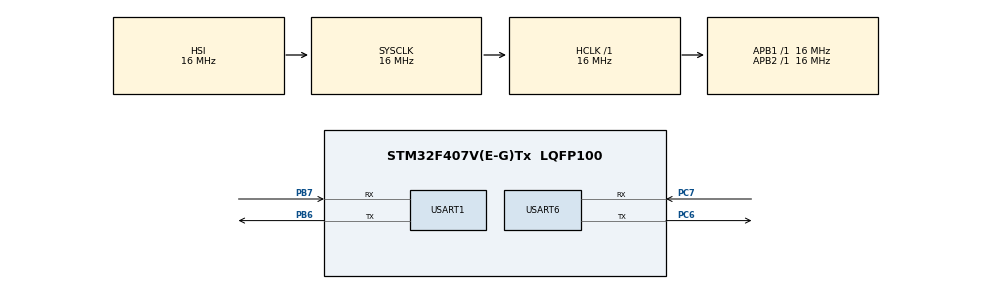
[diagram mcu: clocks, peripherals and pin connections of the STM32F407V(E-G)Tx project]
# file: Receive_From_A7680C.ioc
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FREERTOS.Mutexes01=myMutex01,Dynamic,NULL
FREERTOS.Tasks01=defaultTask,0,128,StartDefaultTask,Default,NULL,Dynamic,NULL,NULL;myTask02,-3,128,StartTask02,Default,NULL,Dynamic,NULL,NULL
Mcu.Family=STM32F4
Mcu.Name=STM32F407V(E-G)Tx
Mcu.Package=LQFP100
NVIC.PriorityGroup=NVIC_PRIORITYGROUP_4
NVIC.TIM2_IRQn=true\:5\:0\:false\:false\:true\:true\:true\:true\:true
NVIC.TIM4_IRQn=true\:15\:0\:false\:false\:true\:false\:false\:true\:true
NVIC.TimeBase=TIM4_IRQn
NVIC.TimeBaseIP=TIM4
NVIC.USART1_IRQn=true\:10\:0\:true\:false\:true\:true\:true\:true\:true
NVIC.USART6_IRQn=true\:5\:0\:false\:false\:true\:true\:true\:true\:true
PA13.Mode=Serial_Wire
PA13.Signal=SYS_JTMS-SWDIO
PA14.Mode=Serial_Wire
PA14.Signal=SYS_JTCK-SWCLK
PB6.Mode=Asynchronous
PB6.Signal=USART1_TX
PB7.Mode=Asynchronous
PB7.Signal=USART1_RX
PC6.Mode=Asynchronous
PC6.Signal=USART6_TX
PC7.Mode=Asynchronous
PC7.Signal=USART6_RX
PH0-OSC_IN.Mode=HSE-External-Oscillator
PH0-OSC_IN.Signal=RCC_OSC_IN
PH1-OSC_OUT.Mode=HSE-External-Oscillator
PH1-OSC_OUT.Signal=RCC_OSC_OUT
ProjectManager.HeapSize=0x200
ProjectManager.StackSize=0x400
ProjectManager.TargetToolchain=MDK-ARM V5.32
RCC.AHBFreq_Value=16000000
RCC.APB1Freq_Value=16000000
RCC.APB2Freq_Value=16000000
RCC.CortexFreq_Value=16000000
RCC.HSE_VALUE=25000000
RCC.HSI_VALUE=16000000
RCC.LSE_VALUE=32768
RCC.SYSCLKFreq_VALUE=16000000
RCC.VCOOutputFreq_Value=192000000
TIM2.Period=9999
TIM2.Prescaler=1599
USART1.VirtualMode=VM_ASYNC
USART6.VirtualMode=VM_ASYNC
VP_FREERTOS_VS_CMSIS_V1.Mode=CMSIS_V1
VP_SYS_VS_tim4.Mode=TIM4
VP_TIM2_VS_ClockSourceINT.Mode=Internal
board=custom

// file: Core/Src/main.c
/* USER CODE BEGIN Header */
/**
  ******************************************************************************
  * @file           : main.c
  * @brief          : Main program body
  ******************************************************************************
  * @attention
  *
  * Copyright (c) 2024 STMicroelectronics.
  * All rights reserved.
  *
  * This software is licensed under terms that can be found in the LICENSE file
  * in the root directory of this software component.
  * If no LICENSE file comes with this software, it is provided AS-IS.
  *
  ******************************************************************************
  */
/* USER CODE END Header */
#include "main.h"
#include "cmsis_os.h"

/* USER CODE BEGIN Includes */
#include "string.h"
#include "uart.h"
#include "task_LTE.h"
/* USER CODE END Includes */

/* USER CODE BEGIN PD */
#define MaxLengthReceiveUSART1 1024
#define LastFOTACommand 15
#define WaitingForRespondTimeout 10
/* USER CODE END PD */

TIM_HandleTypeDef htim2;

osThreadId defaultTaskHandle;
osThreadId myTask02Handle;
osMutexId myMutex01Handle;
/* USER CODE BEGIN PV */
/* Check command from sim variable */
osThreadId taskCheckSMSHandle;
/* RxData uart 1 buffer variables */
char RxDataUSART1[MaxLengthReceiveUSART1];
char RxDataChar[1];
volatile uint16_t RxDataIndex = 0;
/* RxData uart 6 buffer variables */
char RxDataUSART6[1024];
char RxDataCharSim[1];
volatile uint16_t RxDataIndexSim = 0;
/* Flag check if uart 6 received completed respond or not */
int isReceivedRespond = 0;
/* Flag check if in FOTA mode or not */
int FOTAFlag = 0;
/* Flag to make the received command from sim different from FOTA process */
int SMSCommandFlag = 1;
/* Flag check if command is sent to SIM or not */
volatile int sentToSimFlag = 0;
/* Command index */
volatile int FOTACommandIndex = 0;
/* Time out variable for FOTA */
volatile int SimRespondTimeout = 0;
/* Flag check if the Firmware is downloaded or not */
int writeToFlash = 0;
/* Start page of where to write firmware */
int beginLine = 0;

/* USER CODE END PV */

void SystemClock_Config(void);
static void MX_GPIO_Init(void);
static void MX_TIM2_Init(void);
void StartDefaultTask(void const * argument);
void StartTask02(void const * argument);

/* USER CODE BEGIN PFP */
void TaskCheckCommandFromUser(void const * argument);
void printDebug(char *debugText);
void erase_flash_sector(uint32_t sector_number);
void HAL_UART_TxCpltCallback(UART_HandleTypeDef *huart);
void changeSettingBeforeReset();
/* USER CODE END PFP */

int main(void)
{
  /* USER CODE BEGIN 1 */
  /* Change vector offset table to the start of the firmware */
  SCB->VTOR = (uint32_t)0x08060000;
	__enable_irq();
  /* USER CODE END 1 */

  /* MCU Configuration--------------------------------------------------------*/

  /* Reset of all peripherals, Initializes the Flash interface and the Systick. */
  HAL_Init();

  /* Configure the system clock */
  SystemClock_Config();

  /* Initialize all configured peripherals */
  MX_GPIO_Init();
  MX_TIM2_Init();
  MX_USART1_UART_Init();
  MX_USART6_UART_Init();
  /* USER CODE BEGIN 2 */
  printDebug("Firmware version 0.2.1\r\n");
  uint8_t tx_data_1[37]="Start receive and process firmware\r\n";
  HAL_UART_Transmit(&huart6,tx_data_1, sizeof(tx_data_1), 100);
  HAL_UART_Receive_IT(&huart6, (uint8_t*)RxDataChar, 1);
  HAL_UART_Receive_IT(&huart1, (uint8_t*)RxDataCharSim, 1);
  /* USER CODE END 2 */
  /* Create the mutex(es) */
  /* definition and creation of myMutex01 */
  osMutexDef(myMutex01);
  myMutex01Handle = osMutexCreate(osMutex(myMutex01));

  /* Create the thread(s) */
  /* definition and creation of defaultTask */
  osThreadDef(defaultTask, StartDefaultTask, osPriorityNormal, 0, 128);
  defaultTaskHandle = osThreadCreate(osThread(defaultTask), NULL);

  /* definition and creation of myTask02 */
  osThreadDef(myTask02, StartTask02, osPriorityIdle, 0, 128);
  myTask02Handle = osThreadCreate(osThread(myTask02), NULL);

  /* USER CODE BEGIN RTOS_THREADS */
  /* add threads, ... */

  osThreadDef(taskCheckSMS, TaskCheckCommandFromUser, osPriorityIdle, 0, 128);
  taskCheckSMSHandle = osThreadCreate(osThread(taskCheckSMS), NULL);

  /* USER CODE END RTOS_THREADS */

  /* Start scheduler */
  osKernelStart();
  /* We should never get here as control is now taken by the scheduler */
  /* Infinite loop */
  while (1)
  {

  }
}

void SystemClock_Config(void)
{
  RCC_OscInitTypeDef RCC_OscInitStruct = {0};
  RCC_ClkInitTypeDef RCC_ClkInitStruct = {0};

  /** Configure the main internal regulator output voltage
  */
  __HAL_RCC_PWR_CLK_ENABLE();
  __HAL_PWR_VOLTAGESCALING_CONFIG(PWR_REGULATOR_VOLTAGE_SCALE1);

  /** Initializes the RCC Oscillators according to the specified parameters
  * in the RCC_OscInitTypeDef structure.
  */
  RCC_OscInitStruct.OscillatorType = RCC_OSCILLATORTYPE_HSI;
  RCC_OscInitStruct.HSIState = RCC_HSI_ON;
  RCC_OscInitStruct.HSICalibrationValue = RCC_HSICALIBRATION_DEFAULT;
  RCC_OscInitStruct.PLL.PLLState = RCC_PLL_NONE;
  if (HAL_RCC_OscConfig(&RCC_OscInitStruct) != HAL_OK)
  {
    Error_Handler();
  }

  /** Initializes the CPU, AHB and APB buses clocks
  */
  RCC_ClkInitStruct.ClockType = RCC_CLOCKTYPE_HCLK|RCC_CLOCKTYPE_SYSCLK
                              |RCC_CLOCKTYPE_PCLK1|RCC_CLOCKTYPE_PCLK2;
  RCC_ClkInitStruct.SYSCLKSource = RCC_SYSCLKSOURCE_HSI;
  RCC_ClkInitStruct.AHBCLKDivider = RCC_SYSCLK_DIV1;
  RCC_ClkInitStruct.APB1CLKDivider = RCC_HCLK_DIV1;
  RCC_ClkInitStruct.APB2CLKDivider = RCC_HCLK_DIV1;

  if (HAL_RCC_ClockConfig(&RCC_ClkInitStruct, FLASH_LATENCY_0) != HAL_OK)
  {
    Error_Handler();
  }
}

static void MX_TIM2_Init(void)
{

  TIM_ClockConfigTypeDef sClockSourceConfig = {0};
  TIM_MasterConfigTypeDef sMasterConfig = {0};

  htim2.Instance = TIM2;
  htim2.Init.Prescaler = 1599;
  htim2.Init.CounterMode = TIM_COUNTERMODE_UP;
  htim2.Init.Period = 9999;
  htim2.Init.ClockDivision = TIM_CLOCKDIVISION_DIV1;
  htim2.Init.AutoReloadPreload = TIM_AUTORELOAD_PRELOAD_DISABLE;
  if (HAL_TIM_Base_Init(&htim2) != HAL_OK)
  {
    Error_Handler();
  }
  sClockSourceConfig.ClockSource = TIM_CLOCKSOURCE_INTERNAL;
  if (HAL_TIM_ConfigClockSource(&htim2, &sClockSourceConfig) != HAL_OK)
  {
    Error_Handler();
  }
  sMasterConfig.MasterOutputTrigger = TIM_TRGO_RESET;
  sMasterConfig.MasterSlaveMode = TIM_MASTERSLAVEMODE_DISABLE;
  if (HAL_TIMEx_MasterConfigSynchronization(&htim2, &sMasterConfig) != HAL_OK)
  {
    Error_Handler();
  }

}

static void MX_GPIO_Init(void)
{

  /* GPIO Ports Clock Enable */
  __HAL_RCC_GPIOH_CLK_ENABLE();
  __HAL_RCC_GPIOC_CLK_ENABLE();
  __HAL_RCC_GPIOA_CLK_ENABLE();
  __HAL_RCC_GPIOB_CLK_ENABLE();

}

/* USER CODE BEGIN 4 */
void HAL_UART_RxCpltCallback(UART_HandleTypeDef *huart)
{
  if(huart->Instance == USART6)
 {
	 uint8_t RxLength = 0;
	 RxDataUSART6[RxDataIndex++] = RxDataChar[0];
    if (RxDataChar[0] == '\n')
    {
      RxLength = RxDataIndex - 1;
      if(RxDataUSART6[0] == 'F' && RxDataUSART6[1] == 'O' &&
        RxDataUSART6[2] == 'T' && RxDataUSART6[3] == 'A' && sentToSimFlag == 0)
      {
        printDebug("Enter FOTA mode\r\n");
        FOTAFlag = 1;
        writeToFlash = 0;
        SMSCommandFlag = 0;
      }
      RxDataIndex = 0;
      HAL_UART_Receive_IT(&huart6, (uint8_t*)RxDataChar, 1);
    }
    else
    {
      HAL_UART_Receive_IT(&huart6, (uint8_t*)RxDataChar, 1);
    }
 }
 else if(huart->Instance == USART1)
 {
	 uint8_t RxLength = 0;
	 RxDataUSART1[RxDataIndexSim++] = RxDataCharSim[0];
    HAL_UART_Receive_IT(&huart1, (uint8_t*)RxDataCharSim, 1);

   if(SMSCommandFlag == 0)
   {
     if(RxDataCharSim[0] == 'O')
     {
       isReceivedRespond = 1; // need replace this condition another time
     }
   }
 }
}

void HAL_UART_TxCpltCallback(UART_HandleTypeDef *huart)
{

}

void printDebug(char *debugText)
{
	HAL_UART_Transmit(&huart6,(uint8_t *)debugText,(uint16_t)strlen(debugText),100);
}

void erase_flash_sector(uint32_t sector_number)
{
    FLASH_EraseInitTypeDef erase_init;
    uint32_t sector_error = 0;

    // Fill erase structure
    erase_init.TypeErase = FLASH_TYPEERASE_SECTORS;
    erase_init.Sector = sector_number;
    erase_init.NbSectors = 1;
    erase_init.VoltageRange = FLASH_VOLTAGE_RANGE_3;

    HAL_FLASH_Unlock();
    __HAL_FLASH_CLEAR_FLAG(FLASH_FLAG_EOP | FLASH_FLAG_OPERR | FLASH_FLAG_WRPERR |
                           FLASH_FLAG_PGAERR | FLASH_FLAG_PGPERR | FLASH_FLAG_PGSERR);
    HAL_FLASHEx_Erase(&erase_init, &sector_error);
    HAL_FLASH_Lock();
}

void changeSettingBeforeReset()
{
  uint8_t readConfig = *(uint8_t*)CONFIG_START_ADDRESS;
  if(readConfig == '5')
  {
    erase_flash_sector(FLASH_SECTOR_2);
    HAL_FLASH_Unlock();
    __HAL_FLASH_CLEAR_FLAG(FLASH_FLAG_EOP | FLASH_FLAG_OPERR | FLASH_FLAG_WRPERR |
                             FLASH_FLAG_PGAERR | FLASH_FLAG_PGPERR | FLASH_FLAG_PGSERR);
    // Config save in sector 3
    HAL_FLASH_Program(FLASH_TYPEPROGRAM_BYTE, (StartPageOfConfig*1024), '7');
    HAL_FLASH_Lock();
  }
  else if (readConfig == '7')
  {
    erase_flash_sector(FLASH_SECTOR_2);
    HAL_FLASH_Unlock();
    __HAL_FLASH_CLEAR_FLAG(FLASH_FLAG_EOP | FLASH_FLAG_OPERR | FLASH_FLAG_WRPERR |
                             FLASH_FLAG_PGAERR | FLASH_FLAG_PGPERR | FLASH_FLAG_PGSERR);
    // Config save in sector 3
    HAL_FLASH_Program(FLASH_TYPEPROGRAM_BYTE, (StartPageOfConfig*1024), '5');
    HAL_FLASH_Lock();
  }

}

void TaskCheckCommandFromUser(void const * argument)
{
  char expectRespond1[] = "+CMTI: \"SM\"";
  char expectRespond2[] = "FOTA";
  for(;;)
  {
    if(SMSCommandFlag == 1)
    {
      if(strstr(RxDataUSART1, expectRespond1) != NULL)
      {
        printDebug("Checking new received SMS\r\n");
        deleteBuffer(RxDataUSART1);
        RxDataIndexSim = 0;
        SendCommandToSim("AT+CMGL=\"ALL\"");
        osDelay(2000);
        if(strstr(RxDataUSART1, expectRespond2) != NULL)
        {
          SendCommandToSim("AT+CMGD=1,1");
          osDelay(500);
          deleteBuffer(RxDataUSART1);
          RxDataIndexSim = 0;
          FOTAFlag = 1;
          writeToFlash = 0;
          SMSCommandFlag = 0;
        }
      }
    }
    osDelay(5000);
  }
}

/* USER CODE END 4 */

void StartDefaultTask(void const * argument)
{
  /* USER CODE BEGIN 5 */
  /* Infinite loop */
  for(;;)
  {
    if(SMSCommandFlag == 0)
    {
      if(FOTAFlag == 1 && sentToSimFlag == 0)
      {
        CheckSimConditionCommand(FOTACommandIndex);
        SimRespondTimeout = 0;
        sentToSimFlag = 1;
      }
      osDelay(1000);
      if(sentToSimFlag == 1)
      {
        SimRespondTimeout++;
        if(SimRespondTimeout == WaitingForRespondTimeout)
        {
          sentToSimFlag = 0;
          FOTACommandIndex = 0;
          FOTAFlag = 0;
          SimRespondTimeout = 0;
          printDebug("Time out\r\n");
          SMSCommandFlag = 1;
          if(writeToFlash == 0)
          {
            SendCommandToSim("AT+CFTPSLOGOUT");
            osDelay(1000);
            SendCommandToSim("AT+CFTPSSTOP");
          }
        }
      }
      if(isReceivedRespond == 1)
      {
        char expectRespond1[] = "OK";
        char expectRespond2[] = "ERROR";
        if(strstr(RxDataUSART1, expectRespond1) != NULL
          || strstr(RxDataUSART1, expectRespond2) != NULL)
        {
          printDebug(RxDataUSART1);
          if(writeToFlash == 0)
          {
            if(processRespond(RxDataUSART1, FOTACommandIndex) == 1)
            {
              deleteBuffer(RxDataUSART1);
              RxDataIndexSim = 0;
              isReceivedRespond = 0;
              sentToSimFlag = 0;
              FOTACommandIndex++;
              if(FOTACommandIndex == 5 ||FOTACommandIndex == 10 || FOTACommandIndex == 11)
              {
                printDebug("Waiting respond.\r\n"); // Wait 5s for log in and download
                osDelay(5000);
              }
              if(FOTACommandIndex == LastFOTACommand)
              {
                printDebug("Complete download firmware. Start writing to flash.\r\n");
                HAL_FLASH_Unlock();
                HAL_FLASH_Lock();
                uint8_t readConfig = *(uint8_t*)CONFIG_START_ADDRESS;
                if(readConfig == '5')
                {
                  erase_flash_sector(FLASH_SECTOR_7);
                  printDebug("Erase old flash done\r\n");
                  writeToFlash = 1;
                  FOTACommandIndex = 0;
                  FOTAFlag = 0;
                  setStartPage(StartPageOfFirmware2);
                  SIM_RequestFirmwareCommand(beginLine);
                }
                else if(readConfig == '7')
                {
                  erase_flash_sector(FLASH_SECTOR_5);
                  erase_flash_sector(FLASH_SECTOR_6);
                  printDebug("Erase old flash done\r\n");
                  writeToFlash = 1;
                  FOTACommandIndex = 0;
                  FOTAFlag = 0;
                  setStartPage(StartPage);
                  SIM_RequestFirmwareCommand(beginLine);
                }
                else
                {
                  SMSCommandFlag = 1;
                  printDebug("Error erase flash");
                }
                HAL_FLASH_Unlock();
                HAL_FLASH_Lock();
              }
            }
            else
            {
              deleteBuffer(RxDataUSART1);
              RxDataIndexSim = 0;
              isReceivedRespond = 0;
              sentToSimFlag = 0;
              printDebug("Error\r\n");
              FOTAFlag = 0;
              FOTACommandIndex = 0;
              SMSCommandFlag = 1;
              SendCommandToSim("AT+CFTPSLOGOUT");
              osDelay(1000);
              SendCommandToSim("AT+CFTPSSTOP");
            }
          }
          else if(writeToFlash == 1)
          {
            int result = ProcessFirmwareReceived(RxDataUSART1);
            deleteBuffer(RxDataUSART1);
            RxDataIndexSim = 0;
            isReceivedRespond = 0;
            if(result == 1)
            {
              printDebug("Error during write data to flash.\r\n");
              writeToFlash = 0;
              beginLine = 0;
              SMSCommandFlag = 1;
            }
            else if(result == 2)
            {
              printDebug("Complete write to flash. Start restart device.\r\n");
              writeToFlash = 0;
              beginLine = 0;
              SMSCommandFlag = 1;
              changeSettingBeforeReset();
              NVIC_SystemReset();
            }
            else if(result == 0)
            {
              beginLine += 512;
              osDelay(500);
              SIM_RequestFirmwareCommand(beginLine);
            }
            else if(result == 3)
            {
              osDelay(500);
              printDebug("Receive unwanted respond.\r\n");
              SIM_RequestFirmwareCommand(beginLine);
            }
          }
        }
      }
    }
    osDelay(10);
  }
  /* USER CODE END 5 */
}

void StartTask02(void const * argument)
{
  /* USER CODE BEGIN StartTask02 */
  /* Infinite loop */
  for(;;)
  {
    printDebug("Task 2.1\r\n");
    osDelay(5000);
  }
  /* USER CODE END StartTask02 */
}

void HAL_TIM_PeriodElapsedCallback(TIM_HandleTypeDef *htim)
{
  if (htim->Instance == TIM4) {
    HAL_IncTick();
  }
  /* USER CODE BEGIN Callback 1 */
  else if (htim->Instance == TIM2)
    {
        // Timeout occurred
        HAL_TIM_Base_Stop(&htim2);
        RxDataIndexSim = 0;
        // Handle timeout error here
        display("error\r\n");
    }
  /* USER CODE END Callback 1 */
}

void Error_Handler(void)
{
  __disable_irq();
  while (1)
  {
  }
}
